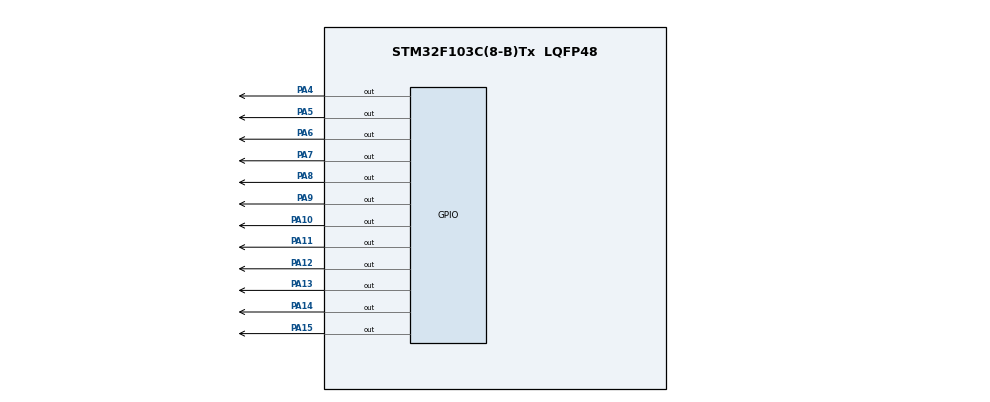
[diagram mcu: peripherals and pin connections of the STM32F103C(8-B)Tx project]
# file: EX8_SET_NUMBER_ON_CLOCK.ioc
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Mcu.Family=STM32F1
Mcu.Name=STM32F103C(8-B)Tx
Mcu.Package=LQFP48
NVIC.PriorityGroup=NVIC_PRIORITYGROUP_4
PA10.Signal=GPIO_Output
PA11.Signal=GPIO_Output
PA12.Signal=GPIO_Output
PA13.Signal=GPIO_Output
PA14.Signal=GPIO_Output
PA15.Signal=GPIO_Output
PA4.Signal=GPIO_Output
PA5.Signal=GPIO_Output
PA6.Signal=GPIO_Output
PA7.Signal=GPIO_Output
PA8.Signal=GPIO_Output
PA9.Signal=GPIO_Output
ProjectManager.HeapSize=0x200
ProjectManager.StackSize=0x400
ProjectManager.TargetToolchain=MDK-ARM V5.32
RCC.APB1Freq_Value=8000000
RCC.APB2Freq_Value=8000000
VP_SYS_VS_ND.Mode=No_Debug
board=custom

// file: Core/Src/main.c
/* USER CODE BEGIN Header */
/**
  ******************************************************************************
  * @file           : main.c
  * @brief          : Main program body
  ******************************************************************************
  * @attention
  *
  * Copyright (c) 2026 STMicroelectronics.
  * All rights reserved.
  *
  * This software is licensed under terms that can be found in the LICENSE file
  * in the root directory of this software component.
  * If no LICENSE file comes with this software, it is provided AS-IS.
  *
  ******************************************************************************
  */
/* USER CODE END Header */
#include "main.h"

/* USER CODE BEGIN PD */
#define ALL_CLOCK_LEDS (GPIO_PIN_4  | GPIO_PIN_5  | GPIO_PIN_6  | \
                        GPIO_PIN_7  | GPIO_PIN_8  | GPIO_PIN_9  | \
                        GPIO_PIN_10 | GPIO_PIN_11 | GPIO_PIN_12 | \
                        GPIO_PIN_13 | GPIO_PIN_14 | GPIO_PIN_15)
/* USER CODE END PD */

void SystemClock_Config(void);
static void MX_GPIO_Init(void);

/* USER CODE BEGIN 0 */
static const uint16_t clock_led[12] =
{
    GPIO_PIN_4,   // Number 0
    GPIO_PIN_5,   // Number 1
    GPIO_PIN_6,   // Number 2
    GPIO_PIN_7,   // Number 3
    GPIO_PIN_8,   // Number 4
    GPIO_PIN_9,   // Number 5
    GPIO_PIN_10,  // Number 6
    GPIO_PIN_11,  // Number 7
    GPIO_PIN_12,  // Number 8
    GPIO_PIN_13,  // Number 9
    GPIO_PIN_14,  // Number 10
    GPIO_PIN_15   // Number 11
};

void clearAllClock(void)
{
    HAL_GPIO_WritePin(
        GPIOA,
        ALL_CLOCK_LEDS,
        GPIO_PIN_RESET
    );
}

void setNumberOnClock(int num)
{
    if (num < 0 || num > 11)
    {
      return;
    }

    clearAllClock();

    HAL_GPIO_WritePin(
        GPIOA,
        clock_led[num],
        GPIO_PIN_SET
    );
}
/* USER CODE END 0 */

int main(void)
{

  /* MCU Configuration--------------------------------------------------------*/

  /* Reset of all peripherals, Initializes the Flash interface and the Systick. */
  HAL_Init();

  /* Configure the system clock */
  SystemClock_Config();

  /* Initialize all configured peripherals */
  MX_GPIO_Init();

  /* Infinite loop */
  while (1)
  {

    /* USER CODE BEGIN 3 */
		int num;

    for (num = 0; num < 12; num++)
    {
        setNumberOnClock(num);
        HAL_Delay(500);
    }
  }
  /* USER CODE END 3 */
}

void SystemClock_Config(void)
{
  RCC_OscInitTypeDef RCC_OscInitStruct = {0};
  RCC_ClkInitTypeDef RCC_ClkInitStruct = {0};

  /** Initializes the RCC Oscillators according to the specified parameters
  * in the RCC_OscInitTypeDef structure.
  */
  RCC_OscInitStruct.OscillatorType = RCC_OSCILLATORTYPE_HSI;
  RCC_OscInitStruct.HSIState = RCC_HSI_ON;
  RCC_OscInitStruct.HSICalibrationValue = RCC_HSICALIBRATION_DEFAULT;
  RCC_OscInitStruct.PLL.PLLState = RCC_PLL_NONE;
  if (HAL_RCC_OscConfig(&RCC_OscInitStruct) != HAL_OK)
  {
    Error_Handler();
  }

  /** Initializes the CPU, AHB and APB buses clocks
  */
  RCC_ClkInitStruct.ClockType = RCC_CLOCKTYPE_HCLK|RCC_CLOCKTYPE_SYSCLK
                              |RCC_CLOCKTYPE_PCLK1|RCC_CLOCKTYPE_PCLK2;
  RCC_ClkInitStruct.SYSCLKSource = RCC_SYSCLKSOURCE_HSI;
  RCC_ClkInitStruct.AHBCLKDivider = RCC_SYSCLK_DIV1;
  RCC_ClkInitStruct.APB1CLKDivider = RCC_HCLK_DIV1;
  RCC_ClkInitStruct.APB2CLKDivider = RCC_HCLK_DIV1;

  if (HAL_RCC_ClockConfig(&RCC_ClkInitStruct, FLASH_LATENCY_0) != HAL_OK)
  {
    Error_Handler();
  }
}

static void MX_GPIO_Init(void)
{
  GPIO_InitTypeDef GPIO_InitStruct = {0};

  /* GPIO Ports Clock Enable */
  __HAL_RCC_GPIOA_CLK_ENABLE();

  /*Configure GPIO pin Output Level */
  HAL_GPIO_WritePin(GPIOA, GPIO_PIN_4|GPIO_PIN_5|GPIO_PIN_6|GPIO_PIN_7
                          |GPIO_PIN_8|GPIO_PIN_9|GPIO_PIN_10|GPIO_PIN_11
                          |GPIO_PIN_12|GPIO_PIN_13|GPIO_PIN_14|GPIO_PIN_15, GPIO_PIN_RESET);

  /*Configure GPIO pins : PA4 PA5 PA6 PA7
                           PA8 PA9 PA10 PA11
                           PA12 PA13 PA14 PA15 */
  GPIO_InitStruct.Pin = GPIO_PIN_4|GPIO_PIN_5|GPIO_PIN_6|GPIO_PIN_7
                          |GPIO_PIN_8|GPIO_PIN_9|GPIO_PIN_10|GPIO_PIN_11
                          |GPIO_PIN_12|GPIO_PIN_13|GPIO_PIN_14|GPIO_PIN_15;
  GPIO_InitStruct.Mode = GPIO_MODE_OUTPUT_PP;
  GPIO_InitStruct.Pull = GPIO_NOPULL;
  GPIO_InitStruct.Speed = GPIO_SPEED_FREQ_LOW;
  HAL_GPIO_Init(GPIOA, &GPIO_InitStruct);

}

void Error_Handler(void)
{
  __disable_irq();
  while (1)
  {
  }
}
